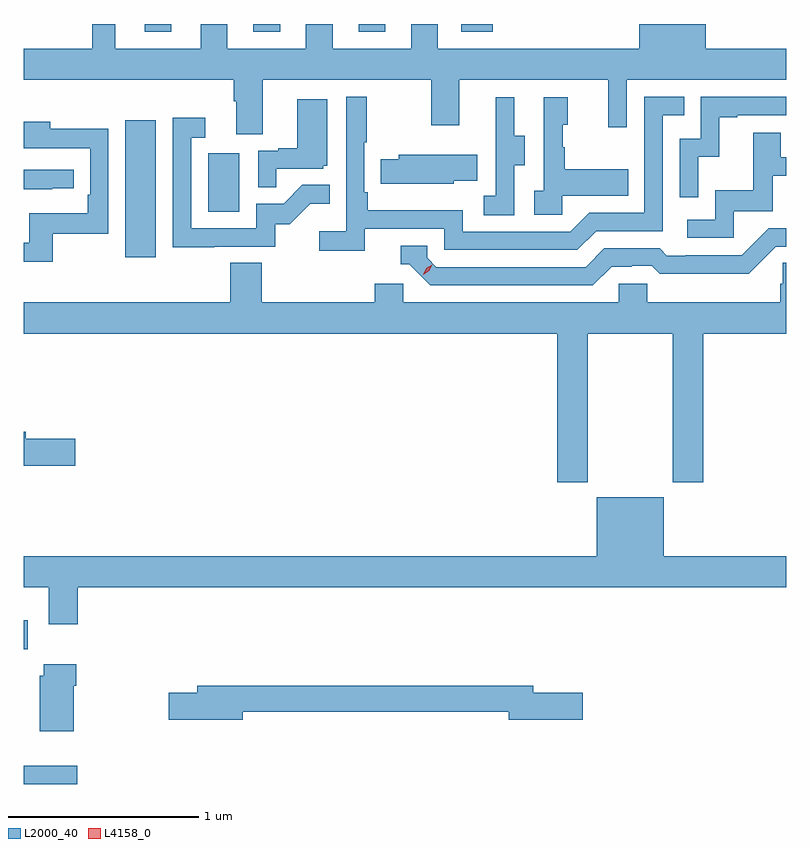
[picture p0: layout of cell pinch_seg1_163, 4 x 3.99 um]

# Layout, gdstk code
import gdstk
lib = gdstk.Library(unit=1e-6, precision=1e-09)
def R(c, l, rs):  # rectangles x0, y0, x1, y1
    for r in rs: c.add(gdstk.rectangle(r[:2], r[2:], *l))
def P(c, l, *ps):  # polygons
    for p in ps: c.add(gdstk.Polygon(p, *l))
L2000_40 = (2000, 40)
L4158_0 = (4158, 0)

pinch_seg1_163 = lib.new_cell('pinch_seg1_163')
R(pinch_seg1_163, L2000_40, [(1130.275,546.704,1130.554,546.801), (1130.275,547.41,1130.296,547.564), (1130.807,549.468,1130.968,550.189), (1131.242,549.708,1131.406,550.015), (1130.909,550.653,1131.049,550.693), (1131.479,550.653,1131.619,550.693), (1132.031,550.653,1132.171,550.693), (1132.571,550.653,1132.736,550.693)])
P(pinch_seg1_163, L2000_40, [(1131.529,550.4),(1132.414,550.4),(1132.414,550.161),(1132.561,550.161),(1132.561,550.4),(1133.342,550.4),(1133.342,550.152),(1133.439,550.152),(1133.439,550.4),(1134.275,550.4),(1134.275,550.564),(1133.854,550.564),(1133.854,550.693),(1133.504,550.693),(1133.504,550.564),(1132.447,550.564),(1132.447,550.693),(1132.307,550.693),(1132.307,550.564),(1131.895,550.564),(1131.895,550.693),(1131.755,550.693),(1131.755,550.564),(1131.343,550.564),(1131.343,550.693),(1131.204,550.693),(1131.204,550.564),(1130.755,550.564),(1130.755,550.693),(1130.634,550.693),(1130.634,550.564),(1130.275,550.564),(1130.275,550.4),(1131.377,550.4),(1131.377,550.288),(1131.389,550.288),(1131.389,550.114),(1131.529,550.114)],
  [(1132.064,549.618),(1132.482,549.618),(1132.482,549.507),(1133.179,549.507),(1133.278,549.606),(1133.628,549.606),(1133.628,550.215),(1133.741,550.215),(1133.741,550.311),(1133.532,550.311),(1133.532,549.702),(1133.241,549.702),(1133.142,549.603),(1132.578,549.603),(1132.578,549.715),(1132.079,549.715),(1132.079,549.811),(1132.062,549.811),(1132.062,550.072),(1132.075,550.072),(1132.075,550.312),(1131.966,550.312),(1131.966,549.604),(1131.825,549.604),(1131.825,549.502),(1132.064,549.502)],
  [(1133.814,549.995),(1133.924,549.995),(1133.924,550.203),(1134.019,550.203),(1134.019,550.215),(1134.275,550.215),(1134.275,550.311),(1133.826,550.311),(1133.826,550.092),(1133.718,550.092),(1133.718,549.783),(1133.814,549.783)],
  [(1133.1,549.791),(1133.447,549.791),(1133.447,549.931),(1133.113,549.931),(1133.113,550.046),(1133.103,550.046),(1133.103,550.164),(1133.128,550.164),(1133.128,550.309),(1133.004,550.309),(1133.004,549.818),(1132.953,549.818),(1132.953,549.693),(1133.1,549.693)],
  [(1132.848,549.952),(1132.903,549.952),(1132.903,550.107),(1132.849,550.107),(1132.849,550.309),(1132.751,550.309),(1132.751,550.095),(1132.752,550.095),(1132.752,549.791),(1132.689,549.791),(1132.689,549.688),(1132.848,549.688)],
  [(1131.599,549.933),(1131.846,549.933),(1131.846,549.948),(1131.868,549.948),(1131.868,550.297),(1131.71,550.297),(1131.71,550.042),(1131.611,550.042),(1131.611,550.029),(1131.504,550.029),(1131.504,549.835),(1131.599,549.835)],
  [(1131.275,549.525),(1131.594,549.525),(1131.594,549.642),(1131.67,549.642),(1131.777,549.749),(1131.881,549.749),(1131.881,549.848),(1131.737,549.848),(1131.639,549.75),(1131.495,549.75),(1131.495,549.621),(1131.153,549.621),(1131.153,550.095),(1131.226,550.095),(1131.226,550.201),(1131.057,550.201),(1131.057,549.52),(1131.275,549.52)],
  [(1130.425,549.591),(1130.718,549.591),(1130.718,550.142),(1130.413,550.142),(1130.413,550.18),(1130.275,550.18),(1130.275,550.04),(1130.309,550.04),(1130.309,550.041),(1130.622,550.041),(1130.622,549.796),(1130.609,549.796),(1130.609,549.7),(1130.304,549.7),(1130.304,549.545),(1130.275,549.545),(1130.275,549.444),(1130.425,549.444)],
  [(1134,549.711),(1134.205,549.711),(1134.205,549.897),(1134.275,549.897),(1134.275,549.993),(1134.247,549.993),(1134.247,550.123),(1134.103,550.123),(1134.103,549.82),(1133.904,549.82),(1133.904,549.666),(1133.757,549.666),(1133.757,549.57),(1134,549.57)],
  [(1132.53,549.869),(1132.655,549.869),(1132.655,550.006),(1132.241,550.006),(1132.241,549.984),(1132.147,549.984),(1132.147,549.855),(1132.258,549.855),(1132.258,549.854),(1132.53,549.854)],
  [(1130.423,549.831),(1130.536,549.831),(1130.536,549.927),(1130.275,549.927),(1130.275,549.826),(1130.423,549.826)],
  [(1133.359,549.42),(1133.466,549.42),(1133.466,549.423),(1133.569,549.423),(1133.611,549.381),(1133.844,549.381),(1133.844,549.383),(1134.08,549.383),(1134.222,549.525),(1134.275,549.525),(1134.275,549.621),(1134.183,549.621),(1134.042,549.48),(1133.749,549.48),(1133.749,549.477),(1133.65,549.477),(1133.611,549.516),(1133.322,549.516),(1133.223,549.417),(1132.44,549.417),(1132.392,549.465),(1132.392,549.528),(1132.253,549.528),(1132.253,549.432),(1132.296,549.432),(1132.407,549.321),(1133.26,549.321)],
  [(1133.235,549.068),(1133.68,549.068),(1133.68,548.289),(1133.84,548.289),(1133.84,549.068),(1134.275,549.068),(1134.275,549.44),(1134.259,549.44),(1134.259,549.33),(1134.245,549.33),(1134.245,549.232),(1133.547,549.232),(1133.547,549.33),(1133.397,549.33),(1133.397,549.232),(1132.266,549.232),(1132.266,549.33),(1132.115,549.33),(1132.115,549.232),(1131.524,549.232),(1131.524,549.44),(1131.359,549.44),(1131.359,549.232),(1130.275,549.232),(1130.275,549.068),(1133.075,549.068),(1133.075,548.289),(1133.235,548.289)],
  [(1130.545,548.516),(1130.284,548.516),(1130.284,548.552),(1130.275,548.552),(1130.275,548.374),(1130.545,548.374)],
  [(1130.558,547.736),(1134.275,547.736),(1134.275,547.9),(1133.632,547.9),(1133.632,548.209),(1133.282,548.209),(1133.282,547.9),(1130.275,547.9),(1130.275,547.736),(1130.405,547.736),(1130.405,547.542),(1130.558,547.542)],
  [(1130.536,547.22),(1130.549,547.22),(1130.549,547.333),(1130.378,547.333),(1130.378,547.272),(1130.357,547.272),(1130.357,546.98),(1130.536,546.98)],
  [(1131.424,547.084),(1132.82,547.084),(1132.82,547.042),(1133.209,547.042),(1133.209,547.184),(1132.948,547.184),(1132.948,547.22),(1131.185,547.22),(1131.185,547.184),(1131.036,547.184),(1131.036,547.042),(1131.424,547.042)])
P(pinch_seg1_163, L4158_0, [(1132.371,549.377),(1132.371,549.378),(1132.387,549.41),(1132.417,549.43),(1132.417,549.43),(1132.417,549.43),(1132.402,549.397),(1132.371,549.377)])

lib.write_gds('pinch_seg1_163.gds')
